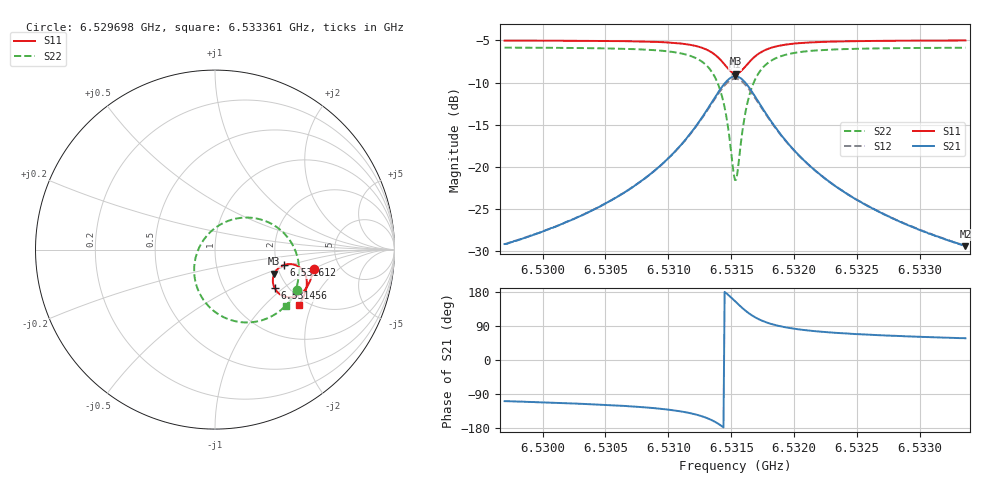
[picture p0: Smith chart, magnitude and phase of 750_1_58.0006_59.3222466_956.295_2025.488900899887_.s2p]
#  HZ  S  RI  R  50.00
! Rohde & Schwarz Vector Network Analyzer
! Rohde-Schwarz,ZNB20-2Port,1311601062101988,3.16
! Created: UTC 3/21/2024, 1:23:57 AM
! freq[Hz]  re:S11  im:S11  re:S21  im:S21  re:S12  im:S12  re:S22  im:S22
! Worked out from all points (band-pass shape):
!   401 points, 6.529698 GHz to 6.533361 GHz, reference 50 ohm
!   highest |S21| = -9.27 dB at 6.53153 GHz (marker M1); lowest = -29.4 dB at 6.533361 GHz (marker M2)
!   |S21| within 3 dB of the highest: 6.531349 GHz to 6.531715 GHz (366.1 kHz wide, 0.00561 % of centre)
!   lowest |S11| = -8.9 dB at 6.531539 GHz (marker M3), VSWR 2.11, Z = 93.6 - j28.8 ohm
!   |S11| at or under -10 dB: nowhere
!   |S22| runs from -21.6 to -5.9 dB; largest |S21 - S12| = 0.014
!   S11 on the Smith chart (normalised r, x): 6.529698 GHz: 3.21, -0.99; 6.531456 GHz: 1.71, -0.88; 6.531612 GHz: 2.19, -0.44; 6.533361 GHz: 1.81, -1.64
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6.5296981e9  0.5499 -0.1061  -0.0111 -0.0331  -0.0119 -0.0328  0.4565 -0.2251
6.5303117e9  0.536 -0.158  -0.0224 -0.0464  -0.0236 -0.0461  0.4194 -0.2831
6.5306505e9  0.5224 -0.1906  -0.0366 -0.0603  -0.0382 -0.0593  0.382 -0.3239
6.5309252e9  0.5027 -0.2218  -0.062 -0.0785  -0.0643 -0.0765  0.3253 -0.3661
6.531145e9  0.4701 -0.2511  -0.1104 -0.0982  -0.1132 -0.0939  0.2289 -0.4013
6.5313007e9  0.4192 -0.2664  -0.1897 -0.099  -0.1913 -0.0906  0.0857 -0.3917
6.5313923e9  0.3688 -0.2534  -0.2671 -0.06  -0.2641 -0.0487  -0.04 -0.3105
6.5314289e9  0.3467 -0.2357  -0.299 -0.0234  -0.2926 -0.012  -0.0864 -0.2429
6.5314564e9  0.3327 -0.216  -0.3177 0.0146  -0.3084 0.0249  -0.1097 -0.1762
6.5315113e9  0.3228 -0.1626  -0.3234 0.1111  -0.3101 0.1159  -0.0999 -0.0172
6.5315296e9  0.3271 -0.1434  -0.3124 0.1443  -0.2989 0.1466  -0.076 0.0347
6.5315388e9  0.3307 -0.1342  -0.3044 0.1599  -0.2913 0.1611  -0.0601 0.0586
6.5315571e9  0.3407 -0.1175  -0.2845 0.1882  -0.2718 0.1872  -0.0224 0.1012
6.5316121e9  0.3842 -0.0854  -0.2043 0.2406  -0.196 0.2359  0.1181 0.1728
6.5316395e9  0.4075 -0.0805  -0.1631 0.2483  -0.1573 0.2433  0.1873 0.1784
6.5316762e9  0.435 -0.0825  -0.1154 0.245  -0.1118 0.2405  0.2666 0.1642
6.5317677e9  0.4802 -0.1065  -0.039 0.2077  -0.0374 0.2054  0.3901 0.0853
6.5319051e9  0.5057 -0.1466  0.00542 0.1515  0.00681 0.1507  0.4547 -0.0262
6.5321432e9  0.5116 -0.1942  0.0225 0.096  0.0238 0.0957  0.4676 -0.1388
6.5324363e9  0.5045 -0.2321  0.0238 0.0636  0.0249 0.0634  0.4533 -0.2109
6.5327568e9  0.493 -0.263  0.022 0.0458  0.0227 0.0453  0.4338 -0.2584
6.5333612e9  0.4681 -0.3097  0.0183 0.0285  0.019 0.0283  0.3982 -0.3159
